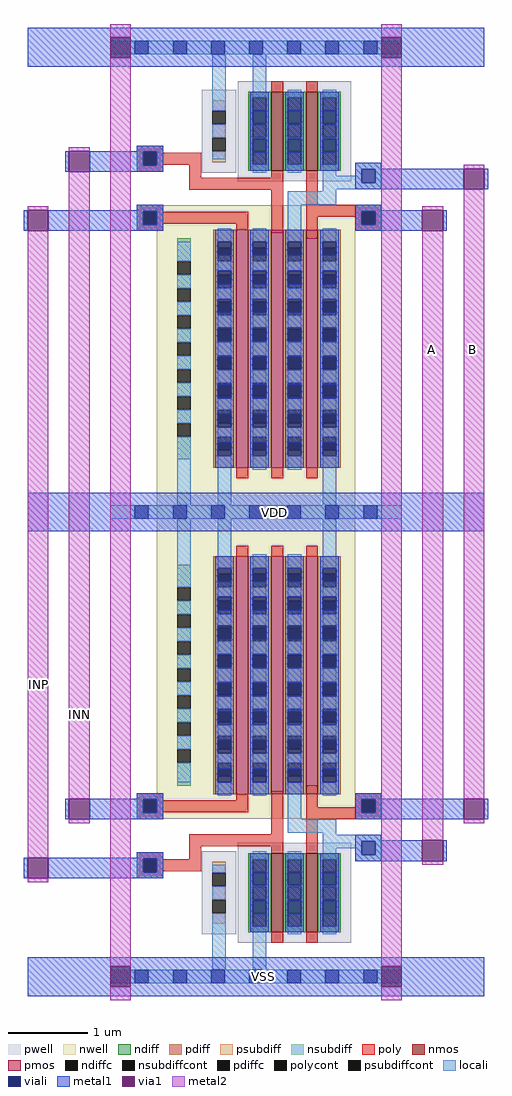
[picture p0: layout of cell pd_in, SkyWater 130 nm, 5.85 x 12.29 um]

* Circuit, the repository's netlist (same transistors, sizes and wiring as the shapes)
** sch_path: /home/mthudaa/vlsi/8bit_SAR-ADC_ITS/xschem/pd_in.sch
.subckt pd_in VDD VSS INP INN A B
*.PININFO VDD:I INP:I INN:I VSS:I A:O B:O
x1 VDD VSS INP INN B A pd_in_half
x2 VDD VSS INN INP A B pd_in_half
.ends

* expanding   symbol:  pd_in_half.sym # of pins=6
** sym_path: /home/mthudaa/vlsi/8bit_SAR-ADC_ITS/xschem/pd_in_half.sym
** sch_path: /home/mthudaa/vlsi/8bit_SAR-ADC_ITS/xschem/pd_in_half.sch
.subckt pd_in_half VDD VSS IN INB OUTB OUT
*.PININFO VDD:I IN:I INB:I VSS:I OUT:O OUTB:I
XM7 net2 IN VSS VSS sky130_fd_pr__nfet_01v8 L=0.15 W=1 nf=1 m=1
XM6 OUT OUTB net2 VSS sky130_fd_pr__nfet_01v8 L=0.15 W=1 nf=1 m=1
XM1 net1 INB VDD VDD sky130_fd_pr__pfet_01v8 L=0.15 W=3 nf=1 m=1
XM2 OUT IN net1 VDD sky130_fd_pr__pfet_01v8 L=0.15 W=3 nf=1 m=1
XM5 OUT OUTB VDD VDD sky130_fd_pr__pfet_01v8 L=0.15 W=3 nf=1 m=1
.ends

.end

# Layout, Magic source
magic
tech sky130A
magscale 1 2
<< metal1 >>
rect -608 1211 542 1234
rect -608 1159 -400 1211
rect -348 1159 282 1211
rect 334 1159 542 1211
rect -608 1136 542 1159
rect -514 872 -504 924
rect -452 872 -317 924
rect 283 828 490 880
rect 542 828 552 880
rect -618 723 -608 775
rect -556 723 -317 775
rect 283 723 386 775
rect 438 723 448 775
rect -608 -34 542 64
rect -514 -759 -504 -707
rect -452 -759 -317 -707
rect 283 -759 490 -707
rect 542 -759 552 -707
rect -618 -908 -608 -856
rect -556 -908 -318 -856
rect 283 -864 386 -812
rect 438 -864 448 -812
rect -608 -1129 542 -1106
rect -608 -1181 -400 -1129
rect -348 -1181 282 -1129
rect 334 -1181 542 -1129
rect -608 -1204 542 -1181
<< via1 >>
rect -400 1159 -348 1211
rect 282 1159 334 1211
rect -504 872 -452 924
rect 490 828 542 880
rect -608 723 -556 775
rect 386 723 438 775
rect -504 -759 -452 -707
rect 490 -759 542 -707
rect -608 -908 -556 -856
rect 386 -864 438 -812
rect -400 -1181 -348 -1129
rect 282 -1181 334 -1129
<< metal2 >>
rect -400 1211 -348 1244
rect -504 924 -452 934
rect -608 775 -556 785
rect -608 -856 -556 723
rect -504 -707 -452 872
rect -504 -769 -452 -759
rect -608 -918 -556 -908
rect -400 -1129 -348 1159
rect -400 -1214 -348 -1181
rect 282 1211 334 1244
rect 282 -1129 334 1159
rect 490 880 542 890
rect 386 775 438 785
rect 386 -812 438 723
rect 490 -707 542 828
rect 490 -769 542 -759
rect 386 -874 438 -864
rect 282 -1214 334 -1181
use pd_in_half  pd_in_half_0
transform 1 0 -496 0 -1 793
box 96 -441 830 827
use pd_in_half  pd_in_half_1
transform 1 0 -496 0 1 -763
box 96 -441 830 827
<< labels >>
flabel metal2 s -596 -434 -566 -404 0 FreeSans 500 0 0 0 INP
port 1 nsew
flabel metal2 s -492 -509 -462 -479 0 FreeSans 500 0 0 0 INN
port 2 nsew
flabel metal1 s -2 0 28 30 0 FreeSans 500 0 0 0 VDD
port 3 nsew
flabel metal1 s -30 -1169 0 -1139 0 FreeSans 500 0 0 0 VSS
port 4 nsew
flabel metal2 s 395 409 425 439 0 FreeSans 500 0 0 0 A
port 5 nsew
flabel metal2 s 498 410 528 440 0 FreeSans 500 0 0 0 B
port 6 nsew
<< end >>

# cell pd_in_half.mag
magic
tech sky130A
magscale 1 2
<< nwell >>
rect 213 707 713 827
rect 213 5 319 707
<< pwell >>
rect 327 -285 413 -77
<< psubdiff >>
rect 353 -130 387 -103
rect 353 -198 387 -164
rect 353 -259 387 -232
<< nsubdiff >>
rect 265 588 299 645
rect 265 520 299 554
rect 265 452 299 486
rect 265 384 299 418
rect 265 316 299 350
rect 265 248 299 282
rect 265 180 299 214
rect 265 89 299 146
<< psubdiffcont >>
rect 353 -164 387 -130
rect 353 -232 387 -198
<< nsubdiffcont >>
rect 265 554 299 588
rect 265 486 299 520
rect 265 418 299 452
rect 265 350 299 384
rect 265 282 299 316
rect 265 214 299 248
rect 265 146 299 180
<< poly >>
rect 163 54 229 70
rect 163 20 179 54
rect 213 52 229 54
rect 413 52 443 58
rect 213 22 443 52
rect 213 20 229 22
rect 163 4 229 20
rect 501 -34 531 76
rect 295 -64 531 -34
rect 589 34 619 90
rect 713 54 779 70
rect 713 34 729 54
rect 589 20 729 34
rect 763 20 779 54
rect 589 4 779 20
rect 589 -55 619 4
rect 163 -95 229 -79
rect 163 -129 179 -95
rect 213 -97 229 -95
rect 295 -97 325 -64
rect 501 -77 531 -64
rect 213 -127 325 -97
rect 213 -129 229 -127
rect 163 -145 229 -129
<< polycont >>
rect 179 20 213 54
rect 729 20 763 54
rect 179 -129 213 -95
<< locali >>
rect 96 761 158 795
rect 192 761 254 795
rect 288 761 350 795
rect 384 761 446 795
rect 480 761 542 795
rect 576 761 638 795
rect 672 761 734 795
rect 768 761 830 795
rect 265 588 299 761
rect 367 636 401 761
rect 631 671 665 761
rect 265 520 299 554
rect 265 452 299 486
rect 265 384 299 418
rect 265 316 299 350
rect 265 248 299 282
rect 265 180 299 214
rect 265 97 299 146
rect 163 54 229 70
rect 163 20 179 54
rect 213 20 229 54
rect 163 4 229 20
rect 543 4 577 67
rect 713 54 779 70
rect 713 20 729 54
rect 763 20 779 54
rect 713 4 779 20
rect 543 -30 665 4
rect 631 -35 665 -30
rect 631 -51 779 -35
rect 631 -69 729 -51
rect 163 -95 229 -79
rect 631 -81 665 -69
rect 163 -129 179 -95
rect 213 -129 229 -95
rect 713 -85 729 -69
rect 763 -85 779 -51
rect 713 -101 779 -85
rect 163 -145 229 -129
rect 353 -130 387 -111
rect 353 -198 387 -164
rect 353 -375 387 -232
rect 455 -375 489 -285
rect 96 -409 158 -375
rect 192 -409 254 -375
rect 288 -409 350 -375
rect 384 -409 446 -375
rect 480 -409 542 -375
rect 576 -409 638 -375
rect 672 -409 734 -375
rect 768 -409 830 -375
<< viali >>
rect 158 761 192 795
rect 254 761 288 795
rect 350 761 384 795
rect 446 761 480 795
rect 542 761 576 795
rect 638 761 672 795
rect 734 761 768 795
rect 179 20 213 54
rect 729 20 763 54
rect 179 -129 213 -95
rect 729 -85 763 -51
rect 158 -409 192 -375
rect 254 -409 288 -375
rect 350 -409 384 -375
rect 446 -409 480 -375
rect 542 -409 576 -375
rect 638 -409 672 -375
rect 734 -409 768 -375
<< metal1 >>
rect 96 795 830 827
rect 96 761 158 795
rect 192 761 254 795
rect 288 761 350 795
rect 384 761 446 795
rect 480 761 542 795
rect 576 761 638 795
rect 672 761 734 795
rect 768 761 830 795
rect 96 729 830 761
rect 163 54 229 70
rect 163 20 179 54
rect 213 20 229 54
rect 163 4 229 20
rect 713 54 779 70
rect 713 20 729 54
rect 763 20 779 54
rect 713 4 779 20
rect 713 -51 779 -35
rect 163 -95 229 -79
rect 163 -129 179 -95
rect 213 -129 229 -95
rect 713 -85 729 -51
rect 763 -85 779 -51
rect 713 -101 779 -85
rect 163 -145 229 -129
rect 96 -375 830 -343
rect 96 -409 158 -375
rect 192 -409 254 -375
rect 288 -409 350 -375
rect 384 -409 446 -375
rect 480 -409 542 -375
rect 576 -409 638 -375
rect 672 -409 734 -375
rect 768 -409 830 -375
rect 96 -441 830 -409
use sky130_fd_pr__nfet_01v8_QQ7V57  sky130_fd_pr__nfet_01v8_QQ7V57_0
transform 1 0 516 0 1 -181
box -99 -126 99 126
use sky130_fd_pr__nfet_01v8_QQ7V57  sky130_fd_pr__nfet_01v8_QQ7V57_1
transform 1 0 604 0 1 -181
box -99 -126 99 126
use sky130_fd_pr__pfet_01v8_5EUKDE  sky130_fd_pr__pfet_01v8_5EUKDE_0
transform 1 0 604 0 1 367
box -109 -362 109 362
use sky130_fd_pr__pfet_01v8_5EUKDE  sky130_fd_pr__pfet_01v8_5EUKDE_1
transform 1 0 516 0 1 367
box -109 -362 109 362
use sky130_fd_pr__pfet_01v8_5EUKDE  sky130_fd_pr__pfet_01v8_5EUKDE_2
transform 1 0 428 0 1 367
box -109 -362 109 362
<< labels >>
flabel metal1 s 729 -85 763 -51 0 FreeSans 500 0 0 0 OUT
port 1 nsew
flabel metal1 s 96 729 158 827 0 FreeSans 500 0 0 0 VDD
port 2 nsew
flabel metal1 s 96 -441 158 -343 0 FreeSans 500 0 0 0 VSS
port 3 nsew
flabel metal1 s 179 20 213 54 0 FreeSans 500 0 0 0 INB
port 4 nsew
flabel metal1 s 179 -129 213 -95 0 FreeSans 500 0 0 0 IN
port 5 nsew
flabel metal1 s 729 20 763 54 0 FreeSans 500 0 0 0 OUTB
port 6 nsew
<< end >>

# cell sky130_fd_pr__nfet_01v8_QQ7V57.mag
magic
tech sky130A
magscale 1 2
<< pwell >>
rect -99 -126 99 126
<< nmos >>
rect -15 -100 15 100
<< ndiff >>
rect -73 85 -15 100
rect -73 51 -61 85
rect -27 51 -15 85
rect -73 17 -15 51
rect -73 -17 -61 17
rect -27 -17 -15 17
rect -73 -51 -15 -17
rect -73 -85 -61 -51
rect -27 -85 -15 -51
rect -73 -100 -15 -85
rect 15 85 73 100
rect 15 51 27 85
rect 61 51 73 85
rect 15 17 73 51
rect 15 -17 27 17
rect 61 -17 73 17
rect 15 -51 73 -17
rect 15 -85 27 -51
rect 61 -85 73 -51
rect 15 -100 73 -85
<< ndiffc >>
rect -61 51 -27 85
rect -61 -17 -27 17
rect -61 -85 -27 -51
rect 27 51 61 85
rect 27 -17 61 17
rect 27 -85 61 -51
<< poly >>
rect -15 100 15 126
rect -15 -126 15 -100
<< locali >>
rect -61 85 -27 104
rect -61 17 -27 19
rect -61 -19 -27 -17
rect -61 -104 -27 -85
rect 27 85 61 104
rect 27 17 61 19
rect 27 -19 61 -17
rect 27 -104 61 -85
<< viali >>
rect -61 51 -27 53
rect -61 19 -27 51
rect -61 -51 -27 -19
rect -61 -53 -27 -51
rect 27 51 61 53
rect 27 19 61 51
rect 27 -51 61 -19
rect 27 -53 61 -51
<< metal1 >>
rect -67 53 -21 100
rect -67 19 -61 53
rect -27 19 -21 53
rect -67 -19 -21 19
rect -67 -53 -61 -19
rect -27 -53 -21 -19
rect -67 -100 -21 -53
rect 21 53 67 100
rect 21 19 27 53
rect 61 19 67 53
rect 21 -19 67 19
rect 21 -53 27 -19
rect 61 -53 67 -19
rect 21 -100 67 -53
<< end >>

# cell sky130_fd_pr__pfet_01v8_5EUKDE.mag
magic
tech sky130A
magscale 1 2
<< nwell >>
rect -109 -362 109 362
<< pmos >>
rect -15 -300 15 300
<< pdiff >>
rect -73 255 -15 300
rect -73 221 -61 255
rect -27 221 -15 255
rect -73 187 -15 221
rect -73 153 -61 187
rect -27 153 -15 187
rect -73 119 -15 153
rect -73 85 -61 119
rect -27 85 -15 119
rect -73 51 -15 85
rect -73 17 -61 51
rect -27 17 -15 51
rect -73 -17 -15 17
rect -73 -51 -61 -17
rect -27 -51 -15 -17
rect -73 -85 -15 -51
rect -73 -119 -61 -85
rect -27 -119 -15 -85
rect -73 -153 -15 -119
rect -73 -187 -61 -153
rect -27 -187 -15 -153
rect -73 -221 -15 -187
rect -73 -255 -61 -221
rect -27 -255 -15 -221
rect -73 -300 -15 -255
rect 15 255 73 300
rect 15 221 27 255
rect 61 221 73 255
rect 15 187 73 221
rect 15 153 27 187
rect 61 153 73 187
rect 15 119 73 153
rect 15 85 27 119
rect 61 85 73 119
rect 15 51 73 85
rect 15 17 27 51
rect 61 17 73 51
rect 15 -17 73 17
rect 15 -51 27 -17
rect 61 -51 73 -17
rect 15 -85 73 -51
rect 15 -119 27 -85
rect 61 -119 73 -85
rect 15 -153 73 -119
rect 15 -187 27 -153
rect 61 -187 73 -153
rect 15 -221 73 -187
rect 15 -255 27 -221
rect 61 -255 73 -221
rect 15 -300 73 -255
<< pdiffc >>
rect -61 221 -27 255
rect -61 153 -27 187
rect -61 85 -27 119
rect -61 17 -27 51
rect -61 -51 -27 -17
rect -61 -119 -27 -85
rect -61 -187 -27 -153
rect -61 -255 -27 -221
rect 27 221 61 255
rect 27 153 61 187
rect 27 85 61 119
rect 27 17 61 51
rect 27 -51 61 -17
rect 27 -119 61 -85
rect 27 -187 61 -153
rect 27 -255 61 -221
<< poly >>
rect -15 300 15 326
rect -15 -326 15 -300
<< locali >>
rect -61 269 -27 304
rect -61 197 -27 221
rect -61 125 -27 153
rect -61 53 -27 85
rect -61 -17 -27 17
rect -61 -85 -27 -53
rect -61 -153 -27 -125
rect -61 -221 -27 -197
rect -61 -304 -27 -269
rect 27 269 61 304
rect 27 197 61 221
rect 27 125 61 153
rect 27 53 61 85
rect 27 -17 61 17
rect 27 -85 61 -53
rect 27 -153 61 -125
rect 27 -221 61 -197
rect 27 -304 61 -269
<< viali >>
rect -61 255 -27 269
rect -61 235 -27 255
rect -61 187 -27 197
rect -61 163 -27 187
rect -61 119 -27 125
rect -61 91 -27 119
rect -61 51 -27 53
rect -61 19 -27 51
rect -61 -51 -27 -19
rect -61 -53 -27 -51
rect -61 -119 -27 -91
rect -61 -125 -27 -119
rect -61 -187 -27 -163
rect -61 -197 -27 -187
rect -61 -255 -27 -235
rect -61 -269 -27 -255
rect 27 255 61 269
rect 27 235 61 255
rect 27 187 61 197
rect 27 163 61 187
rect 27 119 61 125
rect 27 91 61 119
rect 27 51 61 53
rect 27 19 61 51
rect 27 -51 61 -19
rect 27 -53 61 -51
rect 27 -119 61 -91
rect 27 -125 61 -119
rect 27 -187 61 -163
rect 27 -197 61 -187
rect 27 -255 61 -235
rect 27 -269 61 -255
<< metal1 >>
rect -67 269 -21 300
rect -67 235 -61 269
rect -27 235 -21 269
rect -67 197 -21 235
rect -67 163 -61 197
rect -27 163 -21 197
rect -67 125 -21 163
rect -67 91 -61 125
rect -27 91 -21 125
rect -67 53 -21 91
rect -67 19 -61 53
rect -27 19 -21 53
rect -67 -19 -21 19
rect -67 -53 -61 -19
rect -27 -53 -21 -19
rect -67 -91 -21 -53
rect -67 -125 -61 -91
rect -27 -125 -21 -91
rect -67 -163 -21 -125
rect -67 -197 -61 -163
rect -27 -197 -21 -163
rect -67 -235 -21 -197
rect -67 -269 -61 -235
rect -27 -269 -21 -235
rect -67 -300 -21 -269
rect 21 269 67 300
rect 21 235 27 269
rect 61 235 67 269
rect 21 197 67 235
rect 21 163 27 197
rect 61 163 67 197
rect 21 125 67 163
rect 21 91 27 125
rect 61 91 67 125
rect 21 53 67 91
rect 21 19 27 53
rect 61 19 67 53
rect 21 -19 67 19
rect 21 -53 27 -19
rect 61 -53 67 -19
rect 21 -91 67 -53
rect 21 -125 27 -91
rect 61 -125 67 -91
rect 21 -163 67 -125
rect 21 -197 27 -163
rect 61 -197 67 -163
rect 21 -235 67 -197
rect 21 -269 27 -235
rect 61 -269 67 -235
rect 21 -300 67 -269
<< end >>
